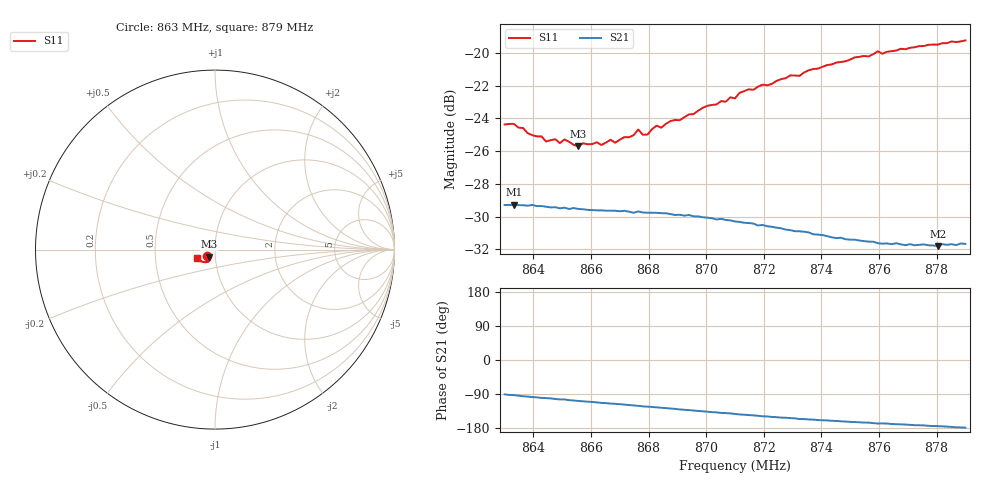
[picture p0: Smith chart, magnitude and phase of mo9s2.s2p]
# HZ S RI R 50
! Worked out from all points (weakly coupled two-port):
!   101 points, 863 MHz to 879 MHz, reference 50 ohm
!   highest |S21| = -29.28 dB at 863.32 MHz (marker M1); lowest = -31.8 dB at 878.04 MHz (marker M2)
!   lowest |S11| = -25.7 dB at 865.56 MHz (marker M3), VSWR 1.11, Z = 46.7 - j3.74 ohm
!   |S11| at or under -10 dB: start of sweep to end of sweep
!   S12 and S22 are empty: the file has one direction only
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8.63e8  -0.0467 -0.0384  -0.000372 -0.0343  0 0  0 0
8.6332e8  -0.0463 -0.0393  -0.0016 -0.0343  0 0  0 0
8.6444e8  -0.0382 -0.0376  -0.00621 -0.0333  0 0  0 0
8.6476e8  -0.0383 -0.0388  -0.00752 -0.0329  0 0  0 0
8.6492e8  -0.0367 -0.0382  -0.0081 -0.0325  0 0  0 0
8.6508e8  -0.0359 -0.0409  -0.00814 -0.0327  0 0  0 0
8.6556e8  -0.033 -0.0399  -0.0103 -0.0317  0 0  0 0
8.6572e8  -0.0334 -0.0411  -0.0108 -0.0315  0 0  0 0
8.6684e8  -0.0293 -0.0444  -0.0143 -0.0297  0 0  0 0
8.6748e8  -0.0281 -0.0485  -0.0162 -0.0281  0 0  0 0
8.6764e8  -0.0294 -0.0504  -0.0168 -0.0281  0 0  0 0
8.6796e8  -0.0277 -0.049  -0.0178 -0.0272  0 0  0 0
8.6828e8  -0.0288 -0.0526  -0.0186 -0.0266  0 0  0 0
8.6844e8  -0.0279 -0.0521  -0.019 -0.0262  0 0  0 0
8.7004e8  -0.0316 -0.0612  -0.0227 -0.0217  0 0  0 0
8.71e8  -0.0352 -0.0636  -0.0242 -0.0186  0 0  0 0
8.7148e8  -0.0394 -0.0666  -0.0248 -0.0172  0 0  0 0
8.7372e8  -0.0543 -0.071  -0.0257 -0.0108  0 0  0 0
8.7596e8  -0.0757 -0.0672  -0.0256 -0.00564  0 0  0 0
8.7644e8  -0.0793 -0.063  -0.0255 -0.005  0 0  0 0
8.7804e8  -0.0919 -0.0529  -0.0255 -0.00245  0 0  0 0
8.79e8  -0.0997 -0.0446  -0.0261 -0.000659  0 0  0 0
